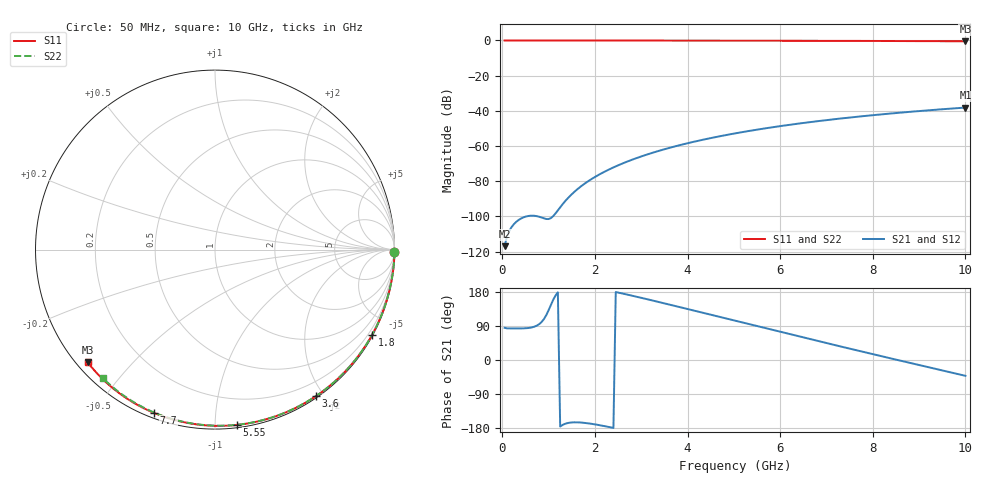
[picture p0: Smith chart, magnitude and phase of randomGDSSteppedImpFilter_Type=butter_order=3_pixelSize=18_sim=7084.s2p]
! freq	dB(S11)	phase(S11)	dB(S12)	phase(S12)
!  dB(S21)	phase(S21)	dB(S22)	phase(S22)
!S-par simulation data
#  GHz  S  DB  R 50
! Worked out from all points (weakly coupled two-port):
!   200 points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, 50 MHz to 10 GHz, reference 50 ohm
!   highest |S21| = -38.14 dB at 10 GHz (marker M1); lowest = -116.9 dB at 50 MHz (marker M2)
!   lowest |S11| = -0.5 dB at 10 GHz (marker M3), VSWR 37.13, Z = 1.54 - j18.9 ohm
!   |S11| at or under -10 dB: nowhere
!   |S22| runs from -0.4 to 0.0 dB; largest |S21 - S12| = 0
!   S11 on the Smith chart (normalised r, x): 50 MHz: open; 1.8 GHz: 0.03, -3.95; 3.6 GHz: 0.02, -1.90; 5.55 GHz: 0.02, -1.13; 7.7 GHz: 0.02, -0.69; 10 GHz: 0.03, -0.38
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0.05  -0.00 -0.8  -116.91 85.0  -116.91 85.0  -0.00 -0.8
0.45  -0.01 -7.2  -100.62 83.4  -100.62 83.4  -0.01 -6.8
0.9  -0.02 -14.3  -101.13 108.2  -101.13 108.2  -0.02 -13.6
1.75  -0.04 -27.6  -81.91 -165.6  -81.91 -165.6  -0.03 -26.1
1.8  -0.04 -28.4  -80.97 -166.3  -80.97 -166.3  -0.03 -26.9
1.85  -0.04 -29.2  -80.08 -167.0  -80.08 -167.0  -0.04 -27.6
2.15  -0.04 -33.8  -75.38 -173.1  -75.38 -173.1  -0.04 -32.0
2.35  -0.05 -36.8  -72.75 -178.0  -72.75 -178.0  -0.04 -34.9
2.55  -0.05 -39.9  -70.41 176.7  -70.41 176.7  -0.05 -37.8
2.95  -0.06 -45.9  -66.37 165.6  -66.37 165.6  -0.06 -43.5
3.4  -0.07 -52.6  -62.59 152.4  -62.59 152.4  -0.07 -49.8
3.6  -0.07 -55.5  -61.10 146.5  -61.10 146.5  -0.07 -52.6
3.9  -0.08 -59.8  -59.05 137.5  -59.05 137.5  -0.08 -56.7
4.3  -0.09 -65.5  -56.60 125.5  -56.60 125.5  -0.09 -62.1
5.05  -0.12 -76.0  -52.70 102.9  -52.70 102.9  -0.11 -72.1
5.55  -0.14 -82.8  -50.48 87.9  -50.48 87.9  -0.13 -78.5
6.1  -0.16 -90.1  -48.31 71.4  -48.31 71.4  -0.15 -85.5
6.7  -0.19 -97.9  -46.23 53.5  -46.23 53.5  -0.18 -92.9
7.7  -0.25 -110.5  -43.26 24.2  -43.26 24.2  -0.24 -104.8
8.35  -0.30 -118.5  -41.61 5.3  -41.61 5.3  -0.29 -112.4
9.2  -0.38 -128.8  -39.70 -19.0  -39.70 -19.0  -0.36 -122.1
10  -0.47 -138.5  -38.14 -41.7  -38.14 -41.7  -0.44 -131.2
